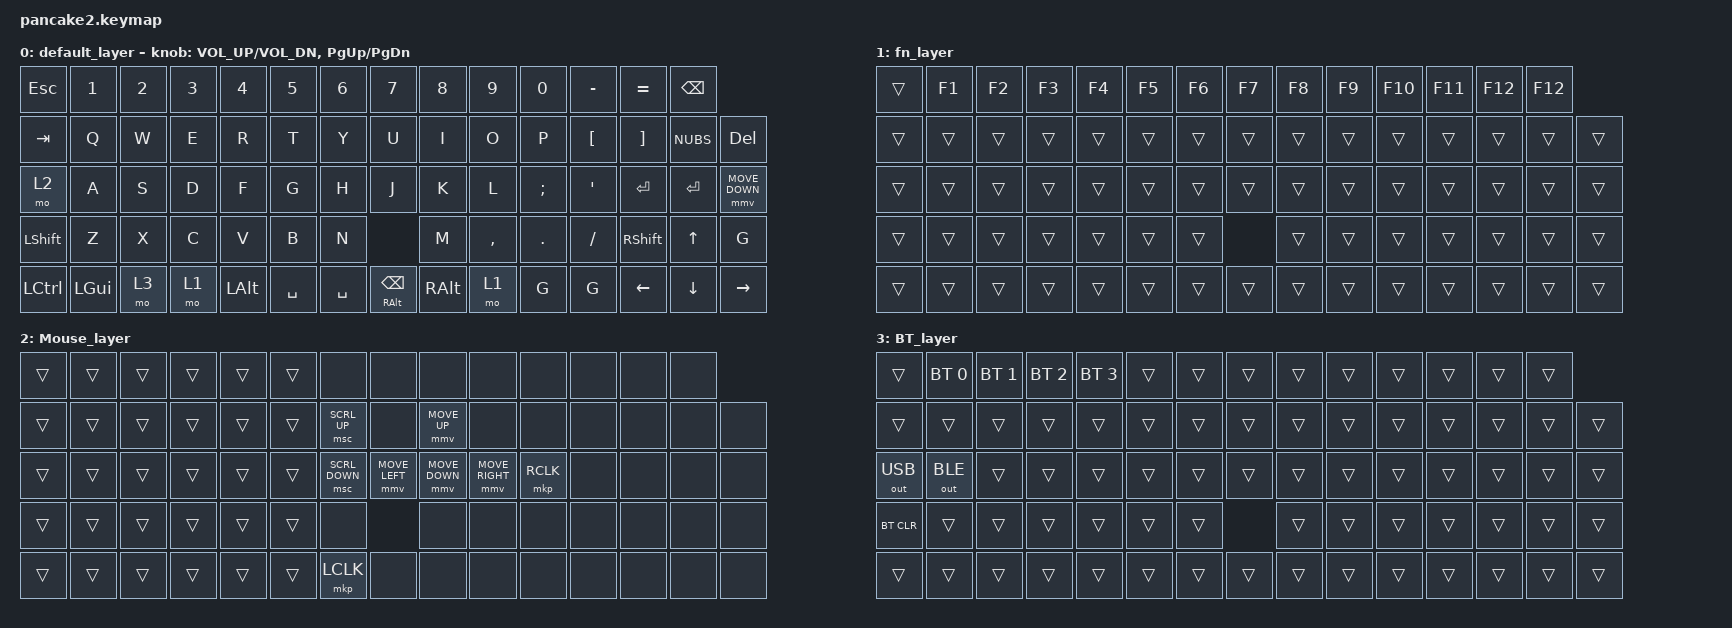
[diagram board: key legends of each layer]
/*
 * Copyright (c) 2022 The ZMK Contributors
 *
 * SPDX-License-Identifier: MIT
 */

#include <behaviors.dtsi>
#include <dt-bindings/zmk/keys.h>
#include <dt-bindings/zmk/bt.h>
#include <dt-bindings/zmk/outputs.h>
#include <dt-bindings/zmk/pointing.h>

/ {
    keymap {
        compatible = "zmk,keymap";

        default_layer {
            bindings = <
                &kp ESC     &kp N1      &kp N2      &kp N3      &kp N4      &kp N5               &kp N6            &kp N7   &kp N8       &kp N9       &kp N0      &kp MINUS  &kp EQUAL         &kp BSPC        
                &kp TAB     &kp Q       &kp W       &kp E       &kp R       &kp T                &kp Y             &kp U    &kp I        &kp O        &kp P       &kp LBKT   &kp RBKT     &kp NUBS   &kp DEL
                &mo 2       &kp A       &kp S       &kp D       &kp F       &kp G                &kp H             &kp J    &kp K        &kp L        &kp SEMI    &kp SQT    &kp ENTER    &kp ENTER  &mmv MOVE_DOWN
                &kp LSHFT   &kp Z       &kp X       &kp C       &kp V       &kp B                &kp N             &kp M    &kp COMMA    &kp DOT      &kp SLASH         &kp RSHFT         &kp UP     &kp G  
                &kp LCTRL   &kp LGUI    &mo 3       &mo 1       &kp LALT    &kp SPACE        &kp SPACE     &mt RALT BSPC    &kp RALT     &mo 1        &kp G       &kp G      &kp LEFT     &kp DOWN   &kp RIGHT
            >;

             sensor-bindings = <&inc_dec_kp C_VOL_UP C_VOL_DN &inc_dec_kp PG_UP PG_DN>;
        };

        fn_layer {
            bindings = <
                &trans     &kp F1   &kp F2    &kp F3    &kp F4    &kp F5            &kp F6     &kp F7     &kp F8     &kp F9     &kp F10      &kp F11     &kp F12          &kp F12        
                &trans     &trans   &trans    &trans    &trans    &trans            &trans     &trans     &trans     &trans     &trans       &trans      &trans       &trans  &trans
                &trans     &trans   &trans    &trans    &trans    &trans            &trans     &trans     &trans     &trans     &trans       &trans      &trans       &trans  &trans
                &trans     &trans   &trans    &trans    &trans    &trans            &trans     &trans     &trans     &trans             &trans           &trans       &trans  &trans   
                &trans     &trans   &trans    &trans    &trans    &trans            &trans     &trans     &trans     &trans     &trans       &trans      &trans       &trans  &trans 
            >;
        };

        Mouse_layer {
            bindings = <
                &trans     &trans   &trans    &trans   &trans   &trans          &none           &none           &none            &none             &none      &none      &none       &none                   
                &trans     &trans   &trans    &trans   &trans   &trans          &msc SCRL_UP    &none           &mmv MOVE_UP     &none             &none      &none      &none  &none    &none
                &trans     &trans   &trans    &trans   &trans   &trans          &msc SCRL_DOWN	&mmv MOVE_LEFT  &mmv MOVE_DOWN   &mmv MOVE_RIGHT   &mkp RCLK  &none      &none  &none    &none
                &trans     &trans   &trans    &trans   &trans   &trans          &none           &none           &none            &none             &none          &none         &none    &none
                &trans     &trans   &trans    &trans   &trans   &trans          &mkp LCLK       &none           &none            &none             &none      &none      &none  &none    &none
            >;
        };

        BT_layer {
            bindings = <
                &trans        &bt BT_SEL 0   &bt BT_SEL 1   &bt BT_SEL 2   &bt BT_SEL 3   &trans         &trans   &trans   &trans   &trans   &trans   &trans   &trans        &trans        
                &trans        &trans         &trans         &trans         &trans         &trans         &trans   &trans   &trans   &trans   &trans   &trans   &trans   &trans     &trans
                &out OUT_USB  &out OUT_BLE   &trans         &trans         &trans         &trans         &trans   &trans   &trans   &trans   &trans   &trans   &trans   &trans     &trans
                &bt BT_CLR    &trans         &trans         &trans         &trans         &trans         &trans   &trans   &trans   &trans   &trans         &trans      &trans     &trans  
                &trans        &trans         &trans         &trans         &trans         &trans         &trans   &trans   &trans   &trans   &trans   &trans   &trans   &trans     &trans
            >;
        };
    };
};
